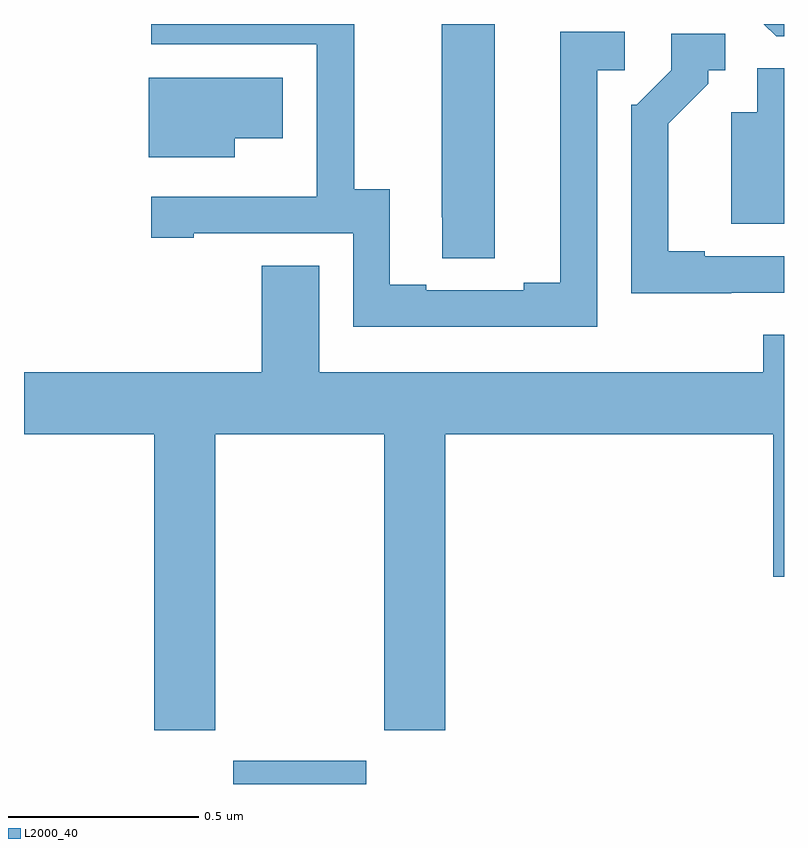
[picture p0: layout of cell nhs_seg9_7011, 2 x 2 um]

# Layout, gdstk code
import gdstk
lib = gdstk.Library(unit=1e-6, precision=1e-09)
def R(c, l, rs):  # rectangles x0, y0, x1, y1
    for r in rs: c.add(gdstk.rectangle(r[:2], r[2:], *l))
def P(c, l, *ps):  # polygons
    for p in ps: c.add(gdstk.Polygon(p, *l))
L2000_40 = (2000, 40)

nhs_seg9_7011 = lib.new_cell('nhs_seg9_7011')
R(nhs_seg9_7011, L2000_40, [(199.55,1195.5,199.9,1195.561)])
P(nhs_seg9_7011, L2000_40, [(200.239,1197.5),(200.099,1197.5),(200.099,1196.992),(200.1,1196.992),(200.1,1196.884),(200.239,1196.884)],
  [(201,1197.5),(200.947,1197.5),(200.979,1197.468),(201,1197.468)],
  [(200.508,1197.378),(200.581,1197.378),(200.581,1197.479),(200.411,1197.479),(200.411,1196.819),(200.315,1196.819),(200.315,1196.799),(200.059,1196.799),(200.059,1196.814),(199.963,1196.814),(199.963,1197.065),(199.869,1197.065),(199.869,1197.5),(199.335,1197.5),(199.335,1197.447),(199.77,1197.447),(199.77,1197.046),(199.769,1197.046),(199.769,1197.045),(199.335,1197.045),(199.335,1196.937),(199.447,1196.937),(199.447,1196.949),(199.866,1196.949),(199.866,1196.703),(200.508,1196.703)],
  [(200.861,1196.793),(201,1196.793),(201,1196.889),(200.791,1196.889),(200.791,1196.902),(200.695,1196.902),(200.695,1197.238),(200.8,1197.343),(200.8,1197.378),(200.845,1197.378),(200.845,1197.474),(200.703,1197.474),(200.703,1197.378),(200.613,1197.288),(200.598,1197.288),(200.598,1196.792),(200.861,1196.792)],
  [(201,1197.383),(200.93,1197.383),(200.93,1197.268),(200.861,1197.268),(200.861,1196.974),(201,1196.974)],
  [(199.555,1197.2),(199.681,1197.2),(199.681,1197.358),(199.328,1197.358),(199.328,1197.149),(199.555,1197.149)],
  [(199.503,1196.42),(199.948,1196.42),(199.948,1195.641),(200.108,1195.641),(200.108,1196.42),(200.972,1196.42),(200.972,1196.046),(201,1196.046),(201,1196.682),(200.945,1196.682),(200.945,1196.584),(199.777,1196.584),(199.777,1196.864),(199.625,1196.864),(199.625,1196.584),(199,1196.584),(199,1196.42),(199.343,1196.42),(199.343,1195.641),(199.503,1195.641)])

lib.write_gds('nhs_seg9_7011.gds')
